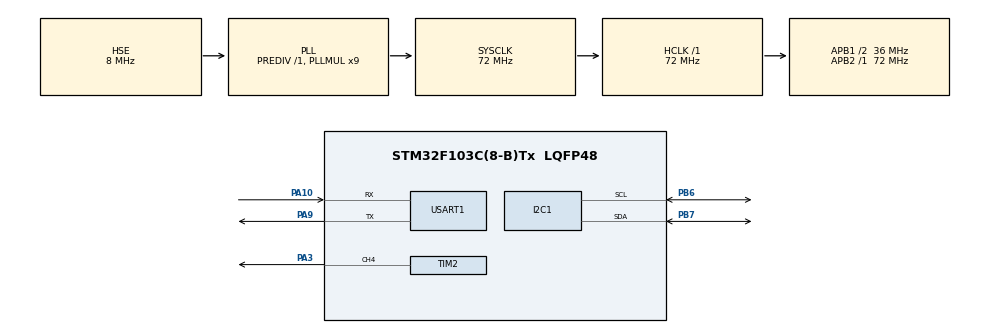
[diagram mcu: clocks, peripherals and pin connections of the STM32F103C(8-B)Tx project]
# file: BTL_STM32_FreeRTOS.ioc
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ADC1.Channel-0\#ChannelRegularConversion=ADC_CHANNEL_TEMPSENSOR
ADC1.NbrOfConversionFlag=1
ADC1.Rank-0\#ChannelRegularConversion=1
ADC1.SamplingTime-0\#ChannelRegularConversion=ADC_SAMPLETIME_239CYCLES_5
ADC1.master=1
FREERTOS.Mutexes01=uartMutex,Dynamic,NULL,Available
FREERTOS.Queues01=temperatureQueue,1,float,0,Dynamic,NULL,NULL;commandQueue,32,uint8_t,0,Dynamic,NULL,NULL
FREERTOS.Tasks01=readTempTask,24,128,StartReadTempTask,Default,NULL,Dynamic,NULL,NULL;updateLcdTask,16,256,StartUpdateLcdTask,Default,NULL,Dynamic,NULL,NULL;sendTempTask,24,256,StartSendTempTask,Default,NULL,Dynamic,NULL,NULL;processCmdTask,40,256,StartProcessCmdTask,Default,NULL,Dynamic,NULL,NULL
FREERTOS.configTOTAL_HEAP_SIZE=6144
FREERTOS.configUSE_NEWLIB_REENTRANT=1
Mcu.Family=STM32F1
Mcu.Name=STM32F103C(8-B)Tx
Mcu.Package=LQFP48
NVIC.PriorityGroup=NVIC_PRIORITYGROUP_4
NVIC.TIM4_IRQn=true\:15\:0\:false\:false\:true\:false\:false\:true\:true
NVIC.TimeBase=TIM4_IRQn
NVIC.TimeBaseIP=TIM4
NVIC.USART1_IRQn=true\:5\:0\:false\:false\:true\:true\:true\:true\:true
PA10.Mode=Asynchronous
PA10.Signal=USART1_RX
PA13.Mode=Serial_Wire
PA13.Signal=SYS_JTMS-SWDIO
PA14.Mode=Serial_Wire
PA14.Signal=SYS_JTCK-SWCLK
PA3.Signal=S_TIM2_CH4
PA9.Mode=Asynchronous
PA9.Signal=USART1_TX
PB6.Mode=I2C
PB6.Signal=I2C1_SCL
PB7.Mode=I2C
PB7.Signal=I2C1_SDA
PD0-OSC_IN.Mode=HSE-External-Oscillator
PD0-OSC_IN.Signal=RCC_OSC_IN
PD1-OSC_OUT.Mode=HSE-External-Oscillator
PD1-OSC_OUT.Signal=RCC_OSC_OUT
ProjectManager.HeapSize=0x200
ProjectManager.StackSize=0x400
ProjectManager.TargetToolchain=STM32CubeIDE
RCC.ADCPresc=RCC_ADCPCLK2_DIV6
RCC.AHBFreq_Value=72000000
RCC.APB1CLKDivider=RCC_HCLK_DIV2
RCC.APB1Freq_Value=36000000
RCC.APB1TimFreq_Value=72000000
RCC.APB2Freq_Value=72000000
RCC.APB2TimFreq_Value=72000000
RCC.HCLKFreq_Value=72000000
RCC.PLLMUL=RCC_PLL_MUL9
RCC.PLLSourceVirtual=RCC_PLLSOURCE_HSE
RCC.SYSCLKFreq_VALUE=72000000
RCC.SYSCLKSource=RCC_SYSCLKSOURCE_PLLCLK
RCC.USBFreq_Value=72000000
SH.S_TIM2_CH4.0=TIM2_CH4,PWM Generation4 CH4
TIM2.Channel-PWM\ Generation4\ CH4=TIM_CHANNEL_4
TIM2.Period=999
TIM2.Prescaler=71
TIM2.Pulse-PWM\ Generation4\ CH4=500
USART1.VirtualMode=VM_ASYNC
VP_ADC1_TempSens_Input.Mode=IN-TempSens
VP_FREERTOS_VS_CMSIS_V2.Mode=CMSIS_V2
VP_SYS_VS_tim4.Mode=TIM4
VP_TIM2_VS_ClockSourceINT.Mode=Internal
board=custom

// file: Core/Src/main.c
/* USER CODE BEGIN Header */
/**
  ******************************************************************************
  * @file           : main.c
  * @brief          : Main program body
  ******************************************************************************
  * @attention
  *
  * Copyright (c) 2025 STMicroelectronics.
  * All rights reserved.
  *
  * This software is licensed under terms that can be found in the LICENSE file
  * in the root directory of this software component.
  * If no LICENSE file comes with this software, it is provided AS-IS.
  *
  ******************************************************************************
  */
/* USER CODE END Header */
#include "main.h"
#include "cmsis_os.h"

/* USER CODE BEGIN Includes */
#include <stdio.h>
#include "liquidcrystal_i2c.h"
#include <string.h>
/* USER CODE END Includes */

ADC_HandleTypeDef hadc1;

I2C_HandleTypeDef hi2c1;

TIM_HandleTypeDef htim2;

UART_HandleTypeDef huart1;

/* Definitions for readTempTask */
osThreadId_t readTempTaskHandle;
const osThreadAttr_t readTempTask_attributes = {
  .name = "readTempTask",
  .stack_size = 128 * 4,
  .priority = (osPriority_t) osPriorityNormal,
};
/* Definitions for updateLcdTask */
osThreadId_t updateLcdTaskHandle;
const osThreadAttr_t updateLcdTask_attributes = {
  .name = "updateLcdTask",
  .stack_size = 256 * 4,
  .priority = (osPriority_t) osPriorityBelowNormal,
};
/* Definitions for sendTempTask */
osThreadId_t sendTempTaskHandle;
const osThreadAttr_t sendTempTask_attributes = {
  .name = "sendTempTask",
  .stack_size = 256 * 4,
  .priority = (osPriority_t) osPriorityNormal,
};
/* Definitions for processCmdTask */
osThreadId_t processCmdTaskHandle;
const osThreadAttr_t processCmdTask_attributes = {
  .name = "processCmdTask",
  .stack_size = 256 * 4,
  .priority = (osPriority_t) osPriorityHigh,
};
/* Definitions for temperatureQueue */
osMessageQueueId_t temperatureQueueHandle;
const osMessageQueueAttr_t temperatureQueue_attributes = {
  .name = "temperatureQueue"
};
/* Definitions for commandQueue */
osMessageQueueId_t commandQueueHandle;
const osMessageQueueAttr_t commandQueue_attributes = {
  .name = "commandQueue"
};
/* Definitions for uartMutex */
osMutexId_t uartMutexHandle;
const osMutexAttr_t uartMutex_attributes = {
  .name = "uartMutex"
};
/* USER CODE BEGIN PV */
uint8_t rxByte;
float g_currentTemperature = 0.0f; // Bien toan cuc nhiet do
uint32_t g_currentFrequency = 1000;
osMutexId_t tempMutexHandle;         // Mutex de bao ve bien nhiet do
/* USER CODE END PV */

void SystemClock_Config(void);
static void MX_GPIO_Init(void);
static void MX_ADC1_Init(void);
static void MX_I2C1_Init(void);
static void MX_TIM2_Init(void);
static void MX_USART1_UART_Init(void);
void StartReadTempTask(void *argument);
void StartUpdateLcdTask(void *argument);
void StartSendTempTask(void *argument);
void StartProcessCmdTask(void *argument);

int main(void)
{

  /* MCU Configuration--------------------------------------------------------*/

  /* Reset of all peripherals, Initializes the Flash interface and the Systick. */
  HAL_Init();

  /* Configure the system clock */
  SystemClock_Config();

  /* Initialize all configured peripherals */
  MX_GPIO_Init();
  MX_ADC1_Init();
  MX_I2C1_Init();
  MX_TIM2_Init();
  MX_USART1_UART_Init();
  /* USER CODE BEGIN 2 */
  HD44780_Init(2);

  HAL_TIM_PWM_Start(&htim2, TIM_CHANNEL_4);

  HAL_ADC_Start(&hadc1);

  HAL_UART_Receive_IT(&huart1, &rxByte, 1);
  /* USER CODE END 2 */

  /* Init scheduler */
  osKernelInitialize();
  /* Create the mutex(es) */
  /* creation of uartMutex */
  uartMutexHandle = osMutexNew(&uartMutex_attributes);

  /* USER CODE BEGIN RTOS_MUTEX */
    // Tao mutex de bao ve bien nhiet do
    tempMutexHandle = osMutexNew(NULL);
  /* USER CODE END RTOS_MUTEX */

  /* Create the queue(s) */
  /* creation of temperatureQueue */
  temperatureQueueHandle = osMessageQueueNew (1, sizeof(float), &temperatureQueue_attributes);

  /* creation of commandQueue */
  commandQueueHandle = osMessageQueueNew (32, sizeof(uint8_t), &commandQueue_attributes);

  /* Create the thread(s) */
  /* creation of readTempTask */
  readTempTaskHandle = osThreadNew(StartReadTempTask, NULL, &readTempTask_attributes);

  /* creation of updateLcdTask */
  updateLcdTaskHandle = osThreadNew(StartUpdateLcdTask, NULL, &updateLcdTask_attributes);

  /* creation of sendTempTask */
  sendTempTaskHandle = osThreadNew(StartSendTempTask, NULL, &sendTempTask_attributes);

  /* creation of processCmdTask */
  processCmdTaskHandle = osThreadNew(StartProcessCmdTask, NULL, &processCmdTask_attributes);

  /* Start scheduler */
  osKernelStart();

  /* We should never get here as control is now taken by the scheduler */

  /* Infinite loop */
  while (1)
  {

  }
}

void SystemClock_Config(void)
{
  RCC_OscInitTypeDef RCC_OscInitStruct = {0};
  RCC_ClkInitTypeDef RCC_ClkInitStruct = {0};
  RCC_PeriphCLKInitTypeDef PeriphClkInit = {0};

  /** Initializes the RCC Oscillators according to the specified parameters
  * in the RCC_OscInitTypeDef structure.
  */
  RCC_OscInitStruct.OscillatorType = RCC_OSCILLATORTYPE_HSE;
  RCC_OscInitStruct.HSEState = RCC_HSE_ON;
  RCC_OscInitStruct.HSEPredivValue = RCC_HSE_PREDIV_DIV1;
  RCC_OscInitStruct.HSIState = RCC_HSI_ON;
  RCC_OscInitStruct.PLL.PLLState = RCC_PLL_ON;
  RCC_OscInitStruct.PLL.PLLSource = RCC_PLLSOURCE_HSE;
  RCC_OscInitStruct.PLL.PLLMUL = RCC_PLL_MUL9;
  if (HAL_RCC_OscConfig(&RCC_OscInitStruct) != HAL_OK)
  {
    Error_Handler();
  }

  /** Initializes the CPU, AHB and APB buses clocks
  */
  RCC_ClkInitStruct.ClockType = RCC_CLOCKTYPE_HCLK|RCC_CLOCKTYPE_SYSCLK
                              |RCC_CLOCKTYPE_PCLK1|RCC_CLOCKTYPE_PCLK2;
  RCC_ClkInitStruct.SYSCLKSource = RCC_SYSCLKSOURCE_PLLCLK;
  RCC_ClkInitStruct.AHBCLKDivider = RCC_SYSCLK_DIV1;
  RCC_ClkInitStruct.APB1CLKDivider = RCC_HCLK_DIV2;
  RCC_ClkInitStruct.APB2CLKDivider = RCC_HCLK_DIV1;

  if (HAL_RCC_ClockConfig(&RCC_ClkInitStruct, FLASH_LATENCY_2) != HAL_OK)
  {
    Error_Handler();
  }
  PeriphClkInit.PeriphClockSelection = RCC_PERIPHCLK_ADC;
  PeriphClkInit.AdcClockSelection = RCC_ADCPCLK2_DIV6;
  if (HAL_RCCEx_PeriphCLKConfig(&PeriphClkInit) != HAL_OK)
  {
    Error_Handler();
  }
}

static void MX_ADC1_Init(void)
{

  ADC_ChannelConfTypeDef sConfig = {0};

  /** Common config
  */
  hadc1.Instance = ADC1;
  hadc1.Init.ScanConvMode = ADC_SCAN_DISABLE;
  hadc1.Init.ContinuousConvMode = DISABLE;
  hadc1.Init.DiscontinuousConvMode = DISABLE;
  hadc1.Init.ExternalTrigConv = ADC_SOFTWARE_START;
  hadc1.Init.DataAlign = ADC_DATAALIGN_RIGHT;
  hadc1.Init.NbrOfConversion = 1;
  if (HAL_ADC_Init(&hadc1) != HAL_OK)
  {
    Error_Handler();
  }

  /** Configure Regular Channel
  */
  sConfig.Channel = ADC_CHANNEL_TEMPSENSOR;
  sConfig.Rank = ADC_REGULAR_RANK_1;
  sConfig.SamplingTime = ADC_SAMPLETIME_239CYCLES_5;
  if (HAL_ADC_ConfigChannel(&hadc1, &sConfig) != HAL_OK)
  {
    Error_Handler();
  }

}

static void MX_I2C1_Init(void)
{

  hi2c1.Instance = I2C1;
  hi2c1.Init.ClockSpeed = 100000;
  hi2c1.Init.DutyCycle = I2C_DUTYCYCLE_2;
  hi2c1.Init.OwnAddress1 = 0;
  hi2c1.Init.AddressingMode = I2C_ADDRESSINGMODE_7BIT;
  hi2c1.Init.DualAddressMode = I2C_DUALADDRESS_DISABLE;
  hi2c1.Init.OwnAddress2 = 0;
  hi2c1.Init.GeneralCallMode = I2C_GENERALCALL_DISABLE;
  hi2c1.Init.NoStretchMode = I2C_NOSTRETCH_DISABLE;
  if (HAL_I2C_Init(&hi2c1) != HAL_OK)
  {
    Error_Handler();
  }

}

static void MX_TIM2_Init(void)
{

  TIM_ClockConfigTypeDef sClockSourceConfig = {0};
  TIM_MasterConfigTypeDef sMasterConfig = {0};
  TIM_OC_InitTypeDef sConfigOC = {0};

  htim2.Instance = TIM2;
  htim2.Init.Prescaler = 71;
  htim2.Init.CounterMode = TIM_COUNTERMODE_UP;
  htim2.Init.Period = 999;
  htim2.Init.ClockDivision = TIM_CLOCKDIVISION_DIV1;
  htim2.Init.AutoReloadPreload = TIM_AUTORELOAD_PRELOAD_DISABLE;
  if (HAL_TIM_Base_Init(&htim2) != HAL_OK)
  {
    Error_Handler();
  }
  sClockSourceConfig.ClockSource = TIM_CLOCKSOURCE_INTERNAL;
  if (HAL_TIM_ConfigClockSource(&htim2, &sClockSourceConfig) != HAL_OK)
  {
    Error_Handler();
  }
  if (HAL_TIM_PWM_Init(&htim2) != HAL_OK)
  {
    Error_Handler();
  }
  sMasterConfig.MasterOutputTrigger = TIM_TRGO_RESET;
  sMasterConfig.MasterSlaveMode = TIM_MASTERSLAVEMODE_DISABLE;
  if (HAL_TIMEx_MasterConfigSynchronization(&htim2, &sMasterConfig) != HAL_OK)
  {
    Error_Handler();
  }
  sConfigOC.OCMode = TIM_OCMODE_PWM1;
  sConfigOC.Pulse = 500;
  sConfigOC.OCPolarity = TIM_OCPOLARITY_HIGH;
  sConfigOC.OCFastMode = TIM_OCFAST_DISABLE;
  if (HAL_TIM_PWM_ConfigChannel(&htim2, &sConfigOC, TIM_CHANNEL_4) != HAL_OK)
  {
    Error_Handler();
  }
  HAL_TIM_MspPostInit(&htim2);

}

static void MX_USART1_UART_Init(void)
{

  huart1.Instance = USART1;
  huart1.Init.BaudRate = 115200;
  huart1.Init.WordLength = UART_WORDLENGTH_8B;
  huart1.Init.StopBits = UART_STOPBITS_1;
  huart1.Init.Parity = UART_PARITY_NONE;
  huart1.Init.Mode = UART_MODE_TX_RX;
  huart1.Init.HwFlowCtl = UART_HWCONTROL_NONE;
  huart1.Init.OverSampling = UART_OVERSAMPLING_16;
  if (HAL_UART_Init(&huart1) != HAL_OK)
  {
    Error_Handler();
  }

}

static void MX_GPIO_Init(void)
{

  /* GPIO Ports Clock Enable */
  __HAL_RCC_GPIOD_CLK_ENABLE();
  __HAL_RCC_GPIOA_CLK_ENABLE();
  __HAL_RCC_GPIOB_CLK_ENABLE();

}

/* USER CODE BEGIN 4 */
void HAL_UART_RxCpltCallback(UART_HandleTypeDef *huart) {
    if (huart->Instance == USART1) {

        osMessageQueuePut(commandQueueHandle, &rxByte, 0, 0);
        HAL_UART_Receive_IT(&huart1, &rxByte, 1);
    }
}
/* USER CODE END 4 */

void StartReadTempTask(void *argument)
{
  /* USER CODE BEGIN 5 */
  uint32_t xLastWakeTime = osKernelGetTickCount();
  const uint32_t xFrequency = 2000; // ms, 2 giây 1 lần

  for (;;)
  {
    // Đợi cho đến đúng thời điểm tiếp theo
    xLastWakeTime += xFrequency;
    osDelayUntil(xLastWakeTime);

    HAL_ADC_Start(&hadc1);
    HAL_ADC_PollForConversion(&hadc1, 100);
    uint32_t adcVal = HAL_ADC_GetValue(&hadc1);
    HAL_ADC_Stop(&hadc1);

    float temperature = ((1.43 - (float)adcVal * 3.3 / 4095.0) / 0.0043) + 25.0;

    if (osMutexAcquire(tempMutexHandle, osWaitForever) == osOK)
    {
        g_currentTemperature = temperature;
        osMutexRelease(tempMutexHandle);
    }
  }
  /* USER CODE END 5 */
}

void StartUpdateLcdTask(void *argument)
{
  /* USER CODE BEGIN StartUpdateLcdTask */
	  float localTemp;
	  uint32_t localFreq;
	  char lcdBuffer[20];

  // Thêm vòng lặp delay cho task này
	  uint32_t xLastWakeTime = osKernelGetTickCount();
	  const uint32_t xFrequency = 1000; // 1 giây

  for(;;)
  {
    // Giữ khóa, đọc cả 2 giá trị nhiệt độ và tần số
	    if (osMutexAcquire(tempMutexHandle, osWaitForever) == osOK)
	    {
	        localTemp = g_currentTemperature;
	        localFreq = g_currentFrequency;
	        osMutexRelease(tempMutexHandle);
	    }

	    sprintf(lcdBuffer, "Temp: %.1fC", localTemp);
	    HD44780_SetCursor(0, 0);
	    HD44780_PrintStr(lcdBuffer);
	    HD44780_PrintStr("    ");

	    sprintf(lcdBuffer, "Freq: %luHz", localFreq);
	    HD44780_SetCursor(0, 1);
	    HD44780_PrintStr(lcdBuffer);
	    HD44780_PrintStr("    ");

	    xLastWakeTime += xFrequency;
	    osDelayUntil(xLastWakeTime);
  }
  /* USER CODE END StartUpdateLcdTask */
}

void StartSendTempTask(void *argument)
{
  /* USER CODE BEGIN StartSendTempTask */
	  float localTemp;
	  uint32_t localFreq;
	  char txBuffer[50];

	  uint32_t xLastWakeTime = osKernelGetTickCount();
	  const uint32_t xFrequency = 1000;

	  for(;;)
	  {
	    if (osMutexAcquire(tempMutexHandle, osWaitForever) == osOK)
	    {
	        localTemp = g_currentTemperature;
	        localFreq = g_currentFrequency;
	        osMutexRelease(tempMutexHandle);
	    }

	    if (osMutexAcquire(uartMutexHandle, osWaitForever) == osOK)
	    {
	      sprintf(txBuffer, "Temp: %.1f C, Freq: %lu Hz\r\n", localTemp, localFreq);
	      HAL_UART_Transmit(&huart1, (uint8_t*)txBuffer, strlen(txBuffer), 100);
	      osMutexRelease(uartMutexHandle);
	    }

	    xLastWakeTime += xFrequency;
	    osDelayUntil(xLastWakeTime);
	  }
  /* USER CODE END StartSendTempTask */
}

void StartProcessCmdTask(void *argument)
{
  char cmdBuffer[32];
  uint8_t cmdIndex = 0;
  uint8_t receivedChar;
  for(;;)
  {
    if (osMessageQueueGet(commandQueueHandle, &receivedChar, NULL, osWaitForever) == osOK)
    {

      if (receivedChar >= 32 && receivedChar <= 126 && cmdIndex < sizeof(cmdBuffer) - 1)
      {
        cmdBuffer[cmdIndex++] = receivedChar;
      }

      if (receivedChar == '\n' || receivedChar == '\r')
      {
        if(cmdIndex > 0)
        {
          cmdBuffer[cmdIndex] = '\0';
          int new_freq;
          if (sscanf(cmdBuffer, "FREQ=%d", &new_freq) == 1)
          {
            if (new_freq > 0 && new_freq <= 20000)
            {
              uint32_t new_arr = 72000000 / (72 * new_freq) - 1;
              __HAL_TIM_SET_AUTORELOAD(&htim2, new_arr);

              if (osMutexAcquire(tempMutexHandle, osWaitForever) == osOK)
              {
                  g_currentFrequency = new_freq;
                  osMutexRelease(tempMutexHandle);
              }

              if (osMutexAcquire(uartMutexHandle, osWaitForever) == osOK)
              {
                char txBuffer[50];
                sprintf(txBuffer, "OK! Frequency set to %d Hz\r\n", new_freq);
                HAL_UART_Transmit(&huart1, (uint8_t*)txBuffer, strlen(txBuffer), 100);
                osMutexRelease(uartMutexHandle);
              }
            }
            else
            {
              if (osMutexAcquire(uartMutexHandle, osWaitForever) == osOK)
              {
                char txBuffer[] = "Error: Invalid frequency value.\r\n";
                HAL_UART_Transmit(&huart1, (uint8_t*)txBuffer, sizeof(txBuffer)-1, 100);
                osMutexRelease(uartMutexHandle);
              }
            }
          }
          else
          {
            if (osMutexAcquire(uartMutexHandle, osWaitForever) == osOK)
            {
              char txBuffer[] = "Error: Unknown command. Try 'FREQ=xxx' \r\n";
              HAL_UART_Transmit(&huart1, (uint8_t*)txBuffer, sizeof(txBuffer)-1, 100);
              osMutexRelease(uartMutexHandle);
            }
          }
        }
        cmdIndex = 0;
      }
      if (cmdIndex >= sizeof(cmdBuffer) - 1)
      {
        cmdIndex = 0;
      }
    }
  }
}

void HAL_TIM_PeriodElapsedCallback(TIM_HandleTypeDef *htim)
{
  if (htim->Instance == TIM4)
  {
    HAL_IncTick();
  }
}

void Error_Handler(void)
{
  __disable_irq();
  while (1)
  {
  }
}
